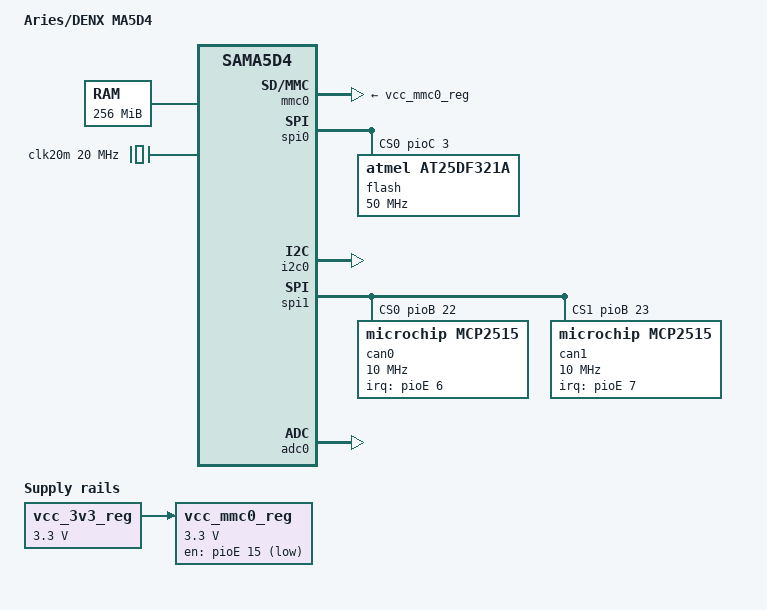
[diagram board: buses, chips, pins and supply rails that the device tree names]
// SPDX-License-Identifier: GPL-2.0-or-later
/*
 * Copyright (C) 2015 Marek Vasut <marex@denx.de>
 */

#include "sama5d4.dtsi"

/ {
	model = "Aries/DENX MA5D4";
	compatible = "aries,ma5d4", "denx,ma5d4", "atmel,sama5d4", "atmel,sama5";

	memory@20000000 {
		reg = <0x20000000 0x10000000>;
	};

	clocks {
		slow_xtal {
			clock-frequency = <32768>;
		};

		main_xtal {
			clock-frequency = <12000000>;
		};

		clk20m: clk20m {
			compatible = "fixed-clock";
			#clock-cells = <0>;
			clock-frequency = <20000000>;
			clock-output-names = "clk20m";
		};
	};

	ahb {
		apb {
			mmc0: mmc@f8000000 {
				pinctrl-names = "default";
				pinctrl-0 = <&pinctrl_mmc0_clk_cmd_dat0 &pinctrl_mmc0_dat1_3 &pinctrl_mmc0_dat4_7>;
				vmmc-supply = <&vcc_mmc0_reg>;
				vqmmc-supply = <&vcc_3v3_reg>;
				status = "okay";
				slot@0 {
					reg = <0>;
					bus-width = <8>;
					broken-cd;
				};
			};

			spi0: spi@f8010000 {
				cs-gpios = <&pioC 3 0>, <0>, <0>, <0>;
				status = "okay";

				flash@0 {
					compatible = "atmel,at25df321a";
					spi-max-frequency = <50000000>;
					reg = <0>;
				};
			};

			i2c0: i2c@f8014000 {
				status = "okay";
			};

			spi1: spi@fc018000 {
				cs-gpios = <&pioB 22 0>, <&pioB 23 0>, <0>, <0>;
				status = "okay";

				can0: can@0 {
					compatible = "microchip,mcp2515";
					reg = <0>;
					clocks = <&clk20m>;
					interrupt-parent = <&pioE>;
					interrupts = <6 IRQ_TYPE_EDGE_RISING>;
					spi-max-frequency = <10000000>;
				};

				can1: can@1 {
					compatible = "microchip,mcp2515";
					reg = <1>;
					clocks = <&clk20m>;
					interrupt-parent = <&pioE>;
					interrupts = <7 IRQ_TYPE_EDGE_RISING>;
					spi-max-frequency = <10000000>;
				};
			};

			tcb2: timer@fc024000 {
				timer@0 {
					compatible = "atmel,tcb-timer";
					reg = <0>;
				};

				timer@1 {
					compatible = "atmel,tcb-timer";
					reg = <1>;
				};
			};

			adc0: adc@fc034000 {
				pinctrl-names = "default";
				pinctrl-0 = <
					/* external trigger conflicts with USBA_VBUS */
					&pinctrl_adc0_ad0
					&pinctrl_adc0_ad1
					&pinctrl_adc0_ad2
					&pinctrl_adc0_ad3
					&pinctrl_adc0_ad4
					>;
				atmel,adc-vref = <3300>;
				status = "okay";
			};

			watchdog@fc068640 {
				status = "okay";
			};
		};
	};

	vcc_3v3_reg: fixedregulator_3v3 {
		compatible = "regulator-fixed";
		regulator-name = "VCC 3V3";
		regulator-min-microvolt = <3300000>;
		regulator-max-microvolt = <3300000>;
		regulator-boot-on;
		regulator-always-on;
	};

	vcc_mmc0_reg: fixedregulator_mmc0 {
		compatible = "regulator-fixed";
		gpio = <&pioE 15 GPIO_ACTIVE_HIGH>;
		regulator-name = "RST_n MCI0";
		regulator-min-microvolt = <3300000>;
		regulator-max-microvolt = <3300000>;
		vin-supply = <&vcc_3v3_reg>;
		regulator-boot-on;
	};
};
